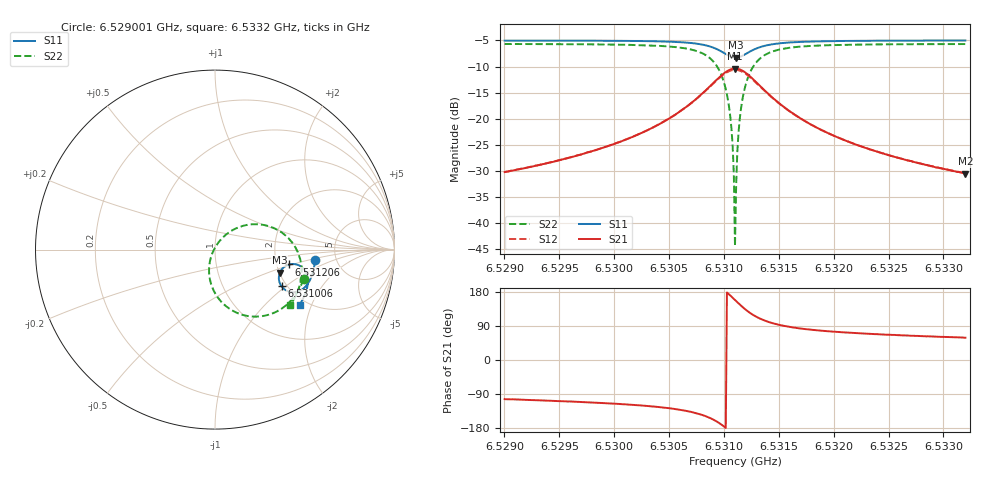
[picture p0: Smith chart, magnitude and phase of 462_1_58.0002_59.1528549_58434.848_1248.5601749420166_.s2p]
#  HZ  S  RI  R  50.00
! Rohde & Schwarz Vector Network Analyzer
! Rohde-Schwarz,ZNB20-2Port,1311601062101988,3.16
! Created: UTC 3/21/2024, 1:11:00 AM
! freq[Hz]  re:S11  im:S11  re:S21  im:S21  re:S12  im:S12  re:S22  im:S22
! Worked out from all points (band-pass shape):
!   401 points, 6.529001 GHz to 6.5332 GHz, reference 50 ohm
!   highest |S21| = -10.37 dB at 6.531101 GHz (marker M1); lowest = -30.5 dB at 6.5332 GHz (marker M2)
!   |S21| within 3 dB of the highest: 6.530893 GHz to 6.531312 GHz (419.1 kHz wide, 0.00642 % of centre)
!   lowest |S11| = -8.3 dB at 6.531111 GHz (marker M3), VSWR 2.25, Z = 101 - j30.2 ohm
!   |S11| at or under -10 dB: nowhere
!   |S22| runs from -44.5 to -5.7 dB; largest |S21 - S12| = 0.012
!   S11 on the Smith chart (normalised r, x): 6.529001 GHz: 3.44, -0.61; 6.531006 GHz: 1.87, -0.93; 6.531206 GHz: 2.34, -0.47; 6.5332 GHz: 1.82, -1.64
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6.5290014e9  0.5577 -0.0604  -0.00701 -0.0299  -0.00762 -0.0297  0.4939 -0.1639
6.5297047e9  0.5473 -0.1185  -0.0163 -0.0425  -0.0172 -0.0422  0.4637 -0.229
6.5304079e9  0.519 -0.1875  -0.0495 -0.0729  -0.0515 -0.0717  0.3835 -0.3202
6.5308278e9  0.4488 -0.2364  -0.1556 -0.0986  -0.1581 -0.0923  0.1791 -0.3695
6.5309327e9  0.4048 -0.2313  -0.2241 -0.0726  -0.2236 -0.0634  0.0624 -0.316
6.5310062e9  0.3705 -0.2043  -0.2749 -0.015  -0.2695 -0.00556  -0.015 -0.2108
6.5310377e9  0.3602 -0.1844  -0.2884 0.0229  -0.2806 0.0314  -0.0316 -0.1453
6.5310587e9  0.3564 -0.169  -0.2918 0.0516  -0.2827 0.0588  -0.0326 -0.0971
6.5310692e9  0.3557 -0.1608  -0.2915 0.0666  -0.2817 0.073  -0.0296 -0.0726
6.5310797e9  0.3559 -0.1523  -0.2896 0.0817  -0.2795 0.0871  -0.0243 -0.0479
6.5310902e9  0.3571 -0.1441  -0.2863 0.0967  -0.2759 0.1011  -0.0164 -0.0239
6.5311007e9  0.3589 -0.1359  -0.2816 0.1116  -0.2709 0.115  -0.00595 -0.000472
6.5311112e9  0.3618 -0.1279  -0.2752 0.1256  -0.2646 0.1282  0.00666 0.0219
6.5311217e9  0.3655 -0.1204  -0.2676 0.139  -0.2571 0.1405  0.0212 0.0426
6.5311322e9  0.3699 -0.1132  -0.2588 0.1513  -0.2485 0.1521  0.0376 0.0617
6.5311532e9  0.3807 -0.1009  -0.2381 0.1729  -0.2287 0.1721  0.0748 0.094
6.5312056e9  0.4135 -0.0829  -0.1784 0.205  -0.1718 0.2019  0.1786 0.1376
6.5312791e9  0.4559 -0.0833  -0.1037 0.2072  -0.1005 0.2041  0.3046 0.1288
6.5313841e9  0.4927 -0.1057  -0.0396 0.1765  -0.038 0.1749  0.4097 0.0629
6.5318039e9  0.5178 -0.1855  0.0156 0.0852  0.0166 0.0849  0.483 -0.1281
6.5325072e9  0.4981 -0.2568  0.0176 0.0408  0.0184 0.0406  0.455 -0.2451
6.5332e9  0.4711 -0.3081  0.0154 0.0254  0.0159 0.0253  0.4202 -0.3062
